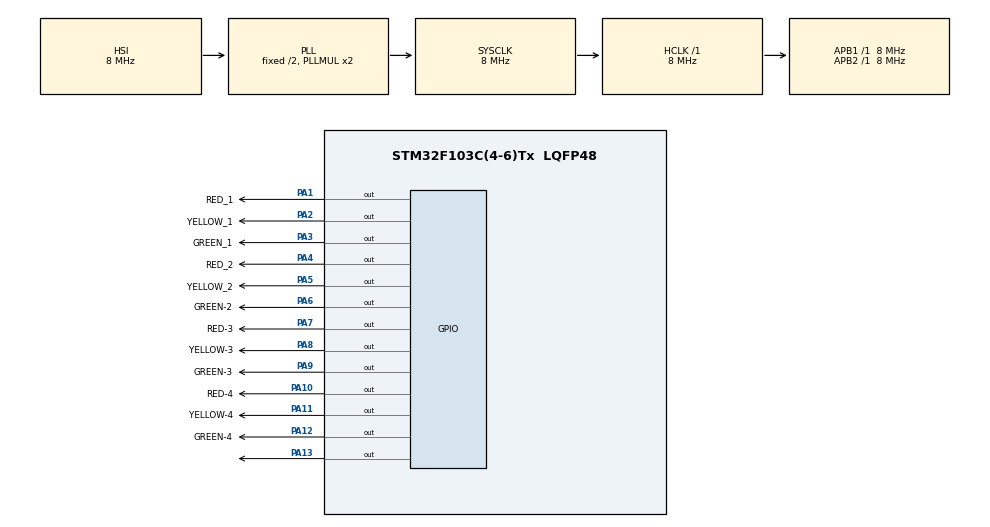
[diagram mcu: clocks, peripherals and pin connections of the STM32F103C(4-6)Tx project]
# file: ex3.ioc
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Mcu.Family=STM32F1
Mcu.Name=STM32F103C(4-6)Tx
Mcu.Package=LQFP48
NVIC.PriorityGroup=NVIC_PRIORITYGROUP_4
NVIC.TIM2_IRQn=true\:0\:0\:false\:false\:true\:true\:true\:true
PA1.GPIO_Label=RED_1
PA1.Signal=GPIO_Output
PA10.GPIO_Label=RED-4
PA10.Signal=GPIO_Output
PA11.GPIO_Label=YELLOW-4
PA11.Signal=GPIO_Output
PA12.GPIO_Label=GREEN-4
PA12.Signal=GPIO_Output
PA13.Signal=GPIO_Output
PA2.GPIO_Label=YELLOW_1
PA2.Signal=GPIO_Output
PA3.GPIO_Label=GREEN_1
PA3.Signal=GPIO_Output
PA4.GPIO_Label=RED_2
PA4.Signal=GPIO_Output
PA5.GPIO_Label=YELLOW_2
PA5.Signal=GPIO_Output
PA6.GPIO_Label=GREEN-2
PA6.Signal=GPIO_Output
PA7.GPIO_Label=RED-3
PA7.Signal=GPIO_Output
PA8.GPIO_Label=YELLOW-3
PA8.Signal=GPIO_Output
PA9.GPIO_Label=GREEN-3
PA9.Signal=GPIO_Output
ProjectManager.HeapSize=0x200
ProjectManager.StackSize=0x400
ProjectManager.TargetToolchain=STM32CubeIDE
RCC.AHBFreq_Value=8000000
RCC.APB1Freq_Value=8000000
RCC.APB1TimFreq_Value=8000000
RCC.APB2Freq_Value=8000000
RCC.APB2TimFreq_Value=8000000
RCC.HCLKFreq_Value=8000000
RCC.SYSCLKFreq_VALUE=8000000
RCC.SYSCLKSource=RCC_SYSCLKSOURCE_PLLCLK
RCC.USBFreq_Value=8000000
TIM2.Period=999
TIM2.Prescaler=7999
VP_SYS_VS_ND.Mode=No_Debug
VP_TIM2_VS_ClockSourceINT.Mode=Internal
board=custom

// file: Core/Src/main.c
/* USER CODE BEGIN Header */
/**
  ******************************************************************************
  * @file           : main.c
  * @brief          : Main program body
  ******************************************************************************
  * @attention
  *
  * Copyright (c) 2022 STMicroelectronics.
  * All rights reserved.
  *
  * This software is licensed under terms that can be found in the LICENSE file
  * in the root directory of this software component.
  * If no LICENSE file comes with this software, it is provided AS-IS.
  *
  ******************************************************************************
  */
/* USER CODE END Header */
#include "main.h"

 TIM_HandleTypeDef htim2;

void SystemClock_Config(void);
static void MX_GPIO_Init(void);
static void MX_TIM2_Init(void);

/* USER CODE BEGIN 0 */
char status = 'r';

const int redTime = 30;
const int greenTime = 25;
const int yellowTime = 3;

const int delayTime = redTime-greenTime-yellowTime;

int currentTime = 0;
int currentYellowTIme = 0;

void lightSwitch(int light, char signal){
	if (signal == 'r'){
		if (light == 1){
			HAL_GPIO_WritePin(RED_1_GPIO_Port, RED_1_Pin, 0);
			HAL_GPIO_WritePin(YELLOW_1_GPIO_Port, YELLOW_1_Pin, 1);
			HAL_GPIO_WritePin(GREEN_1_GPIO_Port, GREEN_1_Pin, 1);
		}
		else if (light == 2){
			HAL_GPIO_WritePin(RED_2_GPIO_Port, RED_2_Pin, 0);
			HAL_GPIO_WritePin(YELLOW_2_GPIO_Port, YELLOW_2_Pin, 1);
			HAL_GPIO_WritePin(GREEN_2_GPIO_Port, GREEN_2_Pin, 1);
		}
		else if (light == 3){
			HAL_GPIO_WritePin(RED_3_GPIO_Port, RED_3_Pin, 0);
			HAL_GPIO_WritePin(YELLOW_3_GPIO_Port, YELLOW_3_Pin, 1);
			HAL_GPIO_WritePin(GREEN_3_GPIO_Port, GREEN_3_Pin, 1);
		}
		else if (light == 4){
			HAL_GPIO_WritePin(RED_4_GPIO_Port, RED_4_Pin, 0);
			HAL_GPIO_WritePin(YELLOW_4_GPIO_Port, YELLOW_4_Pin, 1);
			HAL_GPIO_WritePin(GREEN_4_GPIO_Port, GREEN_4_Pin, 1);
		}
	}
	else if (signal == 'g'){
		if (light == 1){
			HAL_GPIO_WritePin(RED_1_GPIO_Port, RED_1_Pin, 1);
			HAL_GPIO_WritePin(YELLOW_1_GPIO_Port, YELLOW_1_Pin, 1);
			HAL_GPIO_WritePin(GREEN_1_GPIO_Port, GREEN_1_Pin, 0);
		}
		else if (light == 2){
			HAL_GPIO_WritePin(RED_2_GPIO_Port, RED_2_Pin, 1);
			HAL_GPIO_WritePin(YELLOW_2_GPIO_Port, YELLOW_2_Pin, 1);
			HAL_GPIO_WritePin(GREEN_2_GPIO_Port, GREEN_2_Pin, 0);
		}
		else if (light == 3){
			HAL_GPIO_WritePin(RED_3_GPIO_Port, RED_3_Pin, 1);
			HAL_GPIO_WritePin(YELLOW_3_GPIO_Port, YELLOW_3_Pin, 1);
			HAL_GPIO_WritePin(GREEN_3_GPIO_Port, GREEN_3_Pin, 0);
		}
		else if (light == 4){
			HAL_GPIO_WritePin(RED_4_GPIO_Port, RED_4_Pin, 1);
			HAL_GPIO_WritePin(YELLOW_4_GPIO_Port, YELLOW_4_Pin, 1);
			HAL_GPIO_WritePin(GREEN_4_GPIO_Port, GREEN_4_Pin, 0);
		}
	}
	else if(signal == 'y'){
		if (light == 1){
			HAL_GPIO_WritePin(RED_1_GPIO_Port, RED_1_Pin, 1);
			HAL_GPIO_WritePin(YELLOW_1_GPIO_Port, YELLOW_1_Pin, 0);
			HAL_GPIO_WritePin(GREEN_1_GPIO_Port, GREEN_1_Pin, 1);
		}
		else if (light == 2){
			HAL_GPIO_WritePin(RED_2_GPIO_Port, RED_2_Pin, 1);
			HAL_GPIO_WritePin(YELLOW_2_GPIO_Port, YELLOW_2_Pin, 0);
			HAL_GPIO_WritePin(GREEN_2_GPIO_Port, GREEN_2_Pin, 1);
		}
		else if (light == 3){
			HAL_GPIO_WritePin(RED_3_GPIO_Port, RED_3_Pin, 1);
			HAL_GPIO_WritePin(YELLOW_3_GPIO_Port, YELLOW_3_Pin, 0);
			HAL_GPIO_WritePin(GREEN_3_GPIO_Port, GREEN_3_Pin, 1);
		}
		else if (light == 4){
			HAL_GPIO_WritePin(RED_4_GPIO_Port, RED_4_Pin, 1);
			HAL_GPIO_WritePin(YELLOW_4_GPIO_Port, YELLOW_4_Pin, 0);
			HAL_GPIO_WritePin(GREEN_4_GPIO_Port, GREEN_4_Pin, 1);
		}
	}
}

/* USER CODE END 0 */

int main(void)
{

  /* MCU Configuration--------------------------------------------------------*/

  /* Reset of all peripherals, Initializes the Flash interface and the Systick. */
  HAL_Init();

  /* Configure the system clock */
  SystemClock_Config();

  /* Initialize all configured peripherals */
  MX_GPIO_Init();
  MX_TIM2_Init();
  /* USER CODE BEGIN 2 */
  HAL_TIM_Base_Start_IT(&htim2);
  /* USER CODE END 2 */

  /* Infinite loop */
  while (1)
  {

  }
}

void SystemClock_Config(void)
{
  RCC_OscInitTypeDef RCC_OscInitStruct = {0};
  RCC_ClkInitTypeDef RCC_ClkInitStruct = {0};

  /** Initializes the RCC Oscillators according to the specified parameters
  * in the RCC_OscInitTypeDef structure.
  */
  RCC_OscInitStruct.OscillatorType = RCC_OSCILLATORTYPE_HSI;
  RCC_OscInitStruct.HSIState = RCC_HSI_ON;
  RCC_OscInitStruct.HSICalibrationValue = RCC_HSICALIBRATION_DEFAULT;
  RCC_OscInitStruct.PLL.PLLState = RCC_PLL_ON;
  RCC_OscInitStruct.PLL.PLLSource = RCC_PLLSOURCE_HSI_DIV2;
  RCC_OscInitStruct.PLL.PLLMUL = RCC_PLL_MUL2;
  if (HAL_RCC_OscConfig(&RCC_OscInitStruct) != HAL_OK)
  {
    Error_Handler();
  }

  /** Initializes the CPU, AHB and APB buses clocks
  */
  RCC_ClkInitStruct.ClockType = RCC_CLOCKTYPE_HCLK|RCC_CLOCKTYPE_SYSCLK
                              |RCC_CLOCKTYPE_PCLK1|RCC_CLOCKTYPE_PCLK2;
  RCC_ClkInitStruct.SYSCLKSource = RCC_SYSCLKSOURCE_PLLCLK;
  RCC_ClkInitStruct.AHBCLKDivider = RCC_SYSCLK_DIV1;
  RCC_ClkInitStruct.APB1CLKDivider = RCC_HCLK_DIV1;
  RCC_ClkInitStruct.APB2CLKDivider = RCC_HCLK_DIV1;

  if (HAL_RCC_ClockConfig(&RCC_ClkInitStruct, FLASH_LATENCY_0) != HAL_OK)
  {
    Error_Handler();
  }
}

static void MX_TIM2_Init(void)
{

  TIM_ClockConfigTypeDef sClockSourceConfig = {0};
  TIM_MasterConfigTypeDef sMasterConfig = {0};

  htim2.Instance = TIM2;
  htim2.Init.Prescaler = 7999;
  htim2.Init.CounterMode = TIM_COUNTERMODE_UP;
  htim2.Init.Period = 999;
  htim2.Init.ClockDivision = TIM_CLOCKDIVISION_DIV1;
  htim2.Init.AutoReloadPreload = TIM_AUTORELOAD_PRELOAD_DISABLE;
  if (HAL_TIM_Base_Init(&htim2) != HAL_OK)
  {
    Error_Handler();
  }
  sClockSourceConfig.ClockSource = TIM_CLOCKSOURCE_INTERNAL;
  if (HAL_TIM_ConfigClockSource(&htim2, &sClockSourceConfig) != HAL_OK)
  {
    Error_Handler();
  }
  sMasterConfig.MasterOutputTrigger = TIM_TRGO_RESET;
  sMasterConfig.MasterSlaveMode = TIM_MASTERSLAVEMODE_DISABLE;
  if (HAL_TIMEx_MasterConfigSynchronization(&htim2, &sMasterConfig) != HAL_OK)
  {
    Error_Handler();
  }

}

static void MX_GPIO_Init(void)
{
  GPIO_InitTypeDef GPIO_InitStruct = {0};

  /* GPIO Ports Clock Enable */
  __HAL_RCC_GPIOA_CLK_ENABLE();

  /*Configure GPIO pin Output Level */
  HAL_GPIO_WritePin(GPIOA, RED_1_Pin|YELLOW_1_Pin|GREEN_1_Pin|RED_2_Pin
                          |YELLOW_2_Pin|GREEN_2_Pin|RED_3_Pin|YELLOW_3_Pin
                          |GREEN_3_Pin|RED_4_Pin|YELLOW_4_Pin|GREEN_4_Pin
                          |GPIO_PIN_13, GPIO_PIN_SET);

  /*Configure GPIO pins : RED_1_Pin YELLOW_1_Pin GREEN_1_Pin RED_2_Pin
                           YELLOW_2_Pin GREEN_2_Pin RED_3_Pin YELLOW_3_Pin
                           GREEN_3_Pin RED_4_Pin YELLOW_4_Pin GREEN_4_Pin
                           PA13 */
  GPIO_InitStruct.Pin = RED_1_Pin|YELLOW_1_Pin|GREEN_1_Pin|RED_2_Pin
                          |YELLOW_2_Pin|GREEN_2_Pin|RED_3_Pin|YELLOW_3_Pin
                          |GREEN_3_Pin|RED_4_Pin|YELLOW_4_Pin|GREEN_4_Pin
                          |GPIO_PIN_13;
  GPIO_InitStruct.Mode = GPIO_MODE_OUTPUT_PP;
  GPIO_InitStruct.Pull = GPIO_NOPULL;
  GPIO_InitStruct.Speed = GPIO_SPEED_FREQ_LOW;
  HAL_GPIO_Init(GPIOA, &GPIO_InitStruct);

}

/* USER CODE BEGIN 4 */
void HAL_TIM_PeriodElapsedCallback(TIM_HandleTypeDef *htim){
	currentTime++;

	if (currentTime > redTime && status == 'r'){
		status = 'g';
		currentTime = 0;
	}
	else if (currentTime > greenTime && status == 'g'){
		status = 'y';
		currentTime = 0;
	}
	else if (currentTime > yellowTime && status == 'y'){
		status = 'r';
		currentTime = 0;
	}

	if (status == 'r'){
		int remainTime = redTime - currentTime;

		if (remainTime <= (delayTime + yellowTime)){
			if(remainTime <= delayTime){
				lightSwitch(2, 'r');
				lightSwitch(4, 'r');
			}
			else{
				lightSwitch(2, 'y');
				lightSwitch(4, 'y');
			}
		}
		else if (remainTime > (delayTime + yellowTime)){
			lightSwitch(2, 'g');
			lightSwitch(4, 'g');
		}
	}

	lightSwitch(1, status);
	lightSwitch(3, status);
}
/* USER CODE END 4 */

void Error_Handler(void)
{
  __disable_irq();
  while (1)
  {
  }
}
